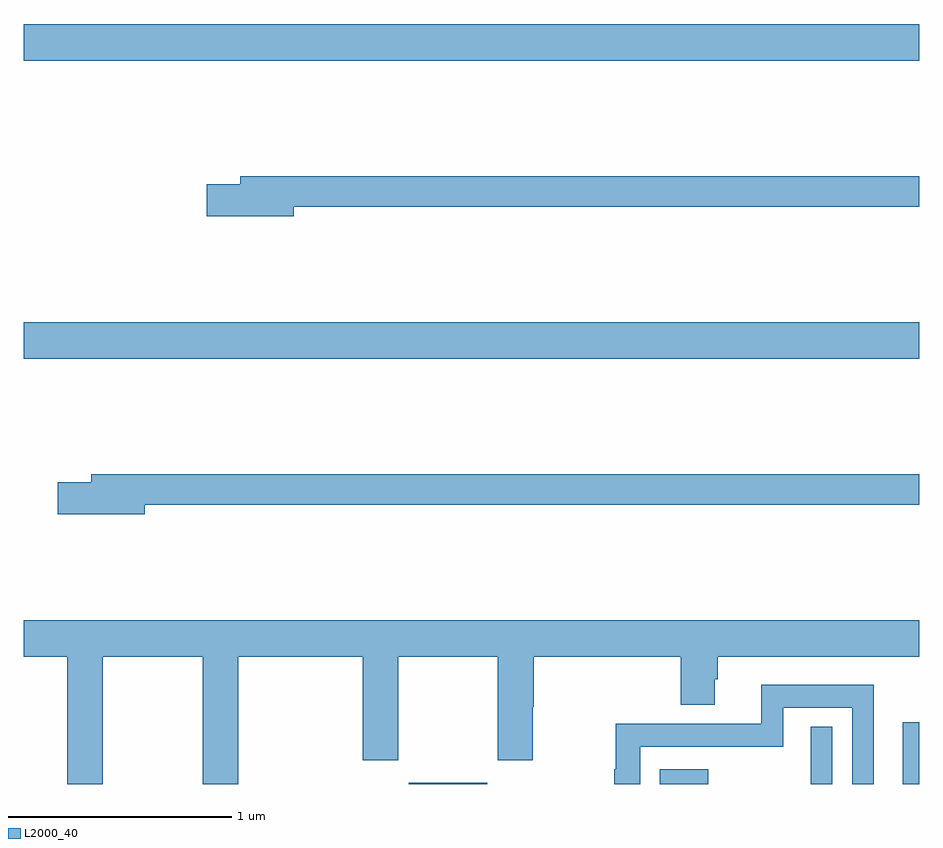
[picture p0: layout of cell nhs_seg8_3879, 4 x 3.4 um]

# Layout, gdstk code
import gdstk
lib = gdstk.Library(unit=1e-6, precision=1e-09)
def R(c, l, rs):  # rectangles x0, y0, x1, y1
    for r in rs: c.add(gdstk.rectangle(r[:2], r[2:], *l))
def P(c, l, *ps):  # polygons
    for p in ps: c.add(gdstk.Polygon(p, *l))
L2000_40 = (2000, 40)

nhs_seg8_3879 = lib.new_cell('nhs_seg8_3879')
R(nhs_seg8_3879, L2000_40, [(350.72,1147.9,351.07,1147.906), (351.842,1147.9,352.057,1147.966), (352.515,1147.9,352.611,1148.155), (352.928,1147.9,353,1148.175), (349,1149.8,353,1149.964), (349,1151.132,353,1151.296)])
P(nhs_seg8_3879, L2000_40, [(350.206,1150.48),(353,1150.48),(353,1150.616),(349.967,1150.616),(349.967,1150.58),(349.818,1150.58),(349.818,1150.438),(350.206,1150.438)],
  [(349.54,1149.148),(353,1149.148),(353,1149.284),(349.301,1149.284),(349.301,1149.248),(349.152,1149.248),(349.152,1149.106),(349.54,1149.106)],
  [(349.353,1148.468),(349.798,1148.468),(349.798,1147.9),(349.958,1147.9),(349.958,1148.468),(350.513,1148.468),(350.513,1148.007),(350.673,1148.007),(350.673,1148.468),(351.118,1148.468),(351.118,1148.007),(351.273,1148.007),(351.273,1148.246),(351.278,1148.246),(351.278,1148.468),(351.935,1148.468),(351.935,1148.255),(352.087,1148.255),(352.087,1148.367),(352.1,1148.367),(352.1,1148.468),(353,1148.468),(353,1148.632),(349,1148.632),(349,1148.468),(349.193,1148.468),(349.193,1147.9),(349.353,1147.9)],
  [(351.753,1148.066),(352.392,1148.066),(352.392,1148.24),(352.701,1148.24),(352.701,1147.9),(352.798,1147.9),(352.798,1148.344),(352.295,1148.344),(352.295,1148.17),(351.645,1148.17),(351.645,1147.966),(351.637,1147.966),(351.637,1147.9),(351.753,1147.9)])

lib.write_gds('nhs_seg8_3879.gds')
